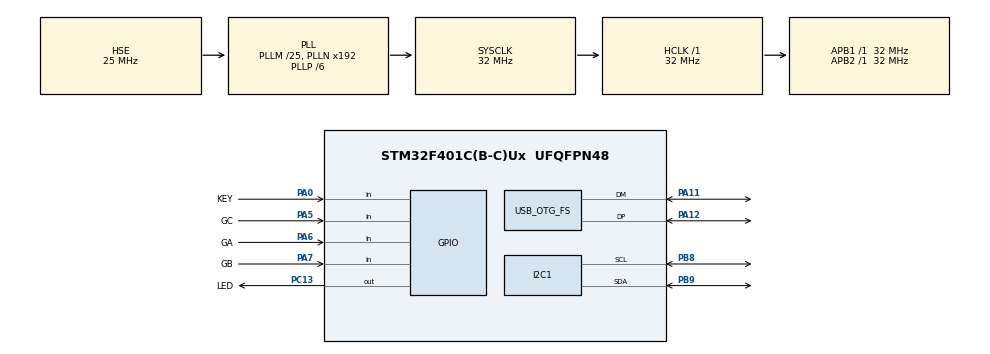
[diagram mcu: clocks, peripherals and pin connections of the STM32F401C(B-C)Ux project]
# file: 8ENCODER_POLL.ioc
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Mcu.Family=STM32F4
Mcu.Name=STM32F401C(B-C)Ux
Mcu.Package=UFQFPN48
NVIC.OTG_FS_IRQn=true\:0\:0\:false\:false\:true\:false\:true
NVIC.PriorityGroup=NVIC_PRIORITYGROUP_4
PA0-WKUP.GPIO_Label=KEY
PA0-WKUP.GPIO_PuPd=GPIO_PULLUP
PA0-WKUP.Signal=GPIO_Input
PA11.Mode=Device_Only
PA11.Signal=USB_OTG_FS_DM
PA12.Mode=Device_Only
PA12.Signal=USB_OTG_FS_DP
PA13.Mode=Serial_Wire
PA13.Signal=SYS_JTMS-SWDIO
PA14.Mode=Serial_Wire
PA14.Signal=SYS_JTCK-SWCLK
PA5.GPIO_Label=GC
PA5.GPIO_PuPd=GPIO_PULLUP
PA5.Signal=GPIO_Input
PA6.GPIO_Label=GA
PA6.GPIO_PuPd=GPIO_PULLUP
PA6.Signal=GPIO_Input
PA7.GPIO_Label=GB
PA7.GPIO_PuPd=GPIO_PULLUP
PA7.Signal=GPIO_Input
PB8.Mode=I2C
PB8.Signal=I2C1_SCL
PB9.Mode=I2C
PB9.Signal=I2C1_SDA
PC13-ANTI_TAMP.GPIO_Label=LED
PC13-ANTI_TAMP.PinState=GPIO_PIN_SET
PC13-ANTI_TAMP.Signal=GPIO_Output
PH0\ -\ OSC_IN.Mode=HSE-External-Oscillator
PH0\ -\ OSC_IN.Signal=RCC_OSC_IN
PH1\ -\ OSC_OUT.Mode=HSE-External-Oscillator
PH1\ -\ OSC_OUT.Signal=RCC_OSC_OUT
ProjectManager.HeapSize=0x200
ProjectManager.StackSize=0x400
ProjectManager.TargetToolchain=STM32CubeIDE
RCC.48MHZClocksFreq_Value=48000000
RCC.AHBFreq_Value=32000000
RCC.APB1Freq_Value=32000000
RCC.APB1TimFreq_Value=32000000
RCC.APB2Freq_Value=32000000
RCC.APB2TimFreq_Value=32000000
RCC.CortexFreq_Value=32000000
RCC.HCLKFreq_Value=32000000
RCC.HSE_VALUE=25000000
RCC.HSI_VALUE=16000000
RCC.LSE_VALUE=32768
RCC.PLLM=25
RCC.PLLP=RCC_PLLP_DIV6
RCC.SYSCLKFreq_VALUE=32000000
RCC.SYSCLKSource=RCC_SYSCLKSOURCE_PLLCLK
RCC.VCOOutputFreq_Value=192000000
USB_DEVICE.CLASS_NAME_FS=CDC
USB_DEVICE.VirtualMode=Cdc
USB_DEVICE.VirtualModeFS=Cdc_FS
USB_OTG_FS.VirtualMode=Device_Only
VP_USB_DEVICE_VS_USB_DEVICE_CDC_FS.Mode=CDC_FS
board=custom

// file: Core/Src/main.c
/* USER CODE BEGIN Header */
/**
  ******************************************************************************
  * @file           : main.c
  * @brief          : Main program body
  ******************************************************************************
  * @attention
  *
  * Copyright (c) 2022 STMicroelectronics.
  * All rights reserved.
  *
  * This software is licensed under terms that can be found in the LICENSE file
  * in the root directory of this software component.
  * If no LICENSE file comes with this software, it is provided AS-IS.
  *
  ******************************************************************************
  */
/* USER CODE END Header */
#include "main.h"
#include "usb_device.h"

/* USER CODE BEGIN Includes */
#include <LiquidCrystal_I2C.h>
/* USER CODE END Includes */

/* USER CODE BEGIN PD */
#define SWA (!HAL_GPIO_ReadPin(GA_GPIO_Port,GA_Pin))
#define SWB (!HAL_GPIO_ReadPin(GB_GPIO_Port,GB_Pin))
#define SWC (!HAL_GPIO_ReadPin(GC_GPIO_Port,GC_Pin)) //btn
/* USER CODE END PD */

I2C_HandleTypeDef hi2c1;

/* USER CODE BEGIN PV */
uint8_t enc = 0; //
int encVal = 0;
int oldEncVal = 0;
uint8_t MSG[30]={'\0'};

uint8_t dFlag = 0;
uint8_t oldBt = 0;
/* USER CODE END PV */

void SystemClock_Config(void);
static void MX_GPIO_Init(void);
static void MX_I2C1_Init(void);

/* USER CODE BEGIN 0 */
uint8_t rotaryEnc(void)
{
	uint8_t nowEnc = 0;
	uint8_t returnEnc = 0;
	static uint8_t oldEnc = 0;

	nowEnc = (SWB << 1) + SWA;

	if((oldEnc == 0) && (nowEnc == 1)){
		returnEnc = 1; //CW
	} else if((oldEnc == 0) && (nowEnc == 2)){
		returnEnc = 2; //CCW
	}
	oldEnc = nowEnc;

	return returnEnc;
}
/* USER CODE END 0 */

int main(void)
{

  /* MCU Configuration--------------------------------------------------------*/

  /* Reset of all peripherals, Initializes the Flash interface and the Systick. */
  HAL_Init();

  /* Configure the system clock */
  SystemClock_Config();

  /* Initialize all configured peripherals */
  MX_GPIO_Init();
  MX_I2C1_Init();
  MX_USB_DEVICE_Init();
  /* USER CODE BEGIN 2 */
  LCD_Init();
  /* USER CODE END 2 */

  /* Infinite loop */
  /* USER CODE BEGIN WHILE */
  while (1)
  {
    enc = rotaryEnc();

	if(enc == 1){
		encVal++;
	} else if(enc == 2){
		encVal--;
	}

    if(encVal != oldEncVal){
    	sprintf(MSG, "ENC Tick: %d\r\n", encVal);
    	while(CDC_Transmit_FS(MSG, strlen(MSG))==USBD_OK){}

    	dFlag = SET;
    	oldEncVal = encVal;
    }

    if((SWC != oldBt) && SWC){
    	HAL_GPIO_TogglePin(LED_GPIO_Port, LED_Pin);
    }
    oldBt = SWC;

    if(dFlag){
    	dFlag = RESET;
    	LCD_Puts(0,1,MSG);
    }
    HAL_Delay(10);
	  /* USER CODE END WHILE */

  }
}

void SystemClock_Config(void)
{
  RCC_OscInitTypeDef RCC_OscInitStruct = {0};
  RCC_ClkInitTypeDef RCC_ClkInitStruct = {0};

  /** Configure the main internal regulator output voltage
  */
  __HAL_RCC_PWR_CLK_ENABLE();
  __HAL_PWR_VOLTAGESCALING_CONFIG(PWR_REGULATOR_VOLTAGE_SCALE2);
  /** Initializes the RCC Oscillators according to the specified parameters
  * in the RCC_OscInitTypeDef structure.
  */
  RCC_OscInitStruct.OscillatorType = RCC_OSCILLATORTYPE_HSE;
  RCC_OscInitStruct.HSEState = RCC_HSE_ON;
  RCC_OscInitStruct.PLL.PLLState = RCC_PLL_ON;
  RCC_OscInitStruct.PLL.PLLSource = RCC_PLLSOURCE_HSE;
  RCC_OscInitStruct.PLL.PLLM = 25;
  RCC_OscInitStruct.PLL.PLLN = 192;
  RCC_OscInitStruct.PLL.PLLP = RCC_PLLP_DIV6;
  RCC_OscInitStruct.PLL.PLLQ = 4;
  if (HAL_RCC_OscConfig(&RCC_OscInitStruct) != HAL_OK)
  {
    Error_Handler();
  }
  /** Initializes the CPU, AHB and APB buses clocks
  */
  RCC_ClkInitStruct.ClockType = RCC_CLOCKTYPE_HCLK|RCC_CLOCKTYPE_SYSCLK
                              |RCC_CLOCKTYPE_PCLK1|RCC_CLOCKTYPE_PCLK2;
  RCC_ClkInitStruct.SYSCLKSource = RCC_SYSCLKSOURCE_PLLCLK;
  RCC_ClkInitStruct.AHBCLKDivider = RCC_SYSCLK_DIV1;
  RCC_ClkInitStruct.APB1CLKDivider = RCC_HCLK_DIV1;
  RCC_ClkInitStruct.APB2CLKDivider = RCC_HCLK_DIV1;

  if (HAL_RCC_ClockConfig(&RCC_ClkInitStruct, FLASH_LATENCY_1) != HAL_OK)
  {
    Error_Handler();
  }
}

static void MX_I2C1_Init(void)
{

  hi2c1.Instance = I2C1;
  hi2c1.Init.ClockSpeed = 100000;
  hi2c1.Init.DutyCycle = I2C_DUTYCYCLE_2;
  hi2c1.Init.OwnAddress1 = 0;
  hi2c1.Init.AddressingMode = I2C_ADDRESSINGMODE_7BIT;
  hi2c1.Init.DualAddressMode = I2C_DUALADDRESS_DISABLE;
  hi2c1.Init.OwnAddress2 = 0;
  hi2c1.Init.GeneralCallMode = I2C_GENERALCALL_DISABLE;
  hi2c1.Init.NoStretchMode = I2C_NOSTRETCH_DISABLE;
  if (HAL_I2C_Init(&hi2c1) != HAL_OK)
  {
    Error_Handler();
  }

}

static void MX_GPIO_Init(void)
{
  GPIO_InitTypeDef GPIO_InitStruct = {0};

  /* GPIO Ports Clock Enable */
  __HAL_RCC_GPIOC_CLK_ENABLE();
  __HAL_RCC_GPIOH_CLK_ENABLE();
  __HAL_RCC_GPIOA_CLK_ENABLE();
  __HAL_RCC_GPIOB_CLK_ENABLE();

  /*Configure GPIO pin Output Level */
  HAL_GPIO_WritePin(LED_GPIO_Port, LED_Pin, GPIO_PIN_SET);

  /*Configure GPIO pin : LED_Pin */
  GPIO_InitStruct.Pin = LED_Pin;
  GPIO_InitStruct.Mode = GPIO_MODE_OUTPUT_PP;
  GPIO_InitStruct.Pull = GPIO_NOPULL;
  GPIO_InitStruct.Speed = GPIO_SPEED_FREQ_LOW;
  HAL_GPIO_Init(LED_GPIO_Port, &GPIO_InitStruct);

  /*Configure GPIO pins : KEY_Pin GC_Pin GA_Pin GB_Pin */
  GPIO_InitStruct.Pin = KEY_Pin|GC_Pin|GA_Pin|GB_Pin;
  GPIO_InitStruct.Mode = GPIO_MODE_INPUT;
  GPIO_InitStruct.Pull = GPIO_PULLUP;
  HAL_GPIO_Init(GPIOA, &GPIO_InitStruct);

}

void Error_Handler(void)
{
  __disable_irq();
  while (1)
  {
  }
}
